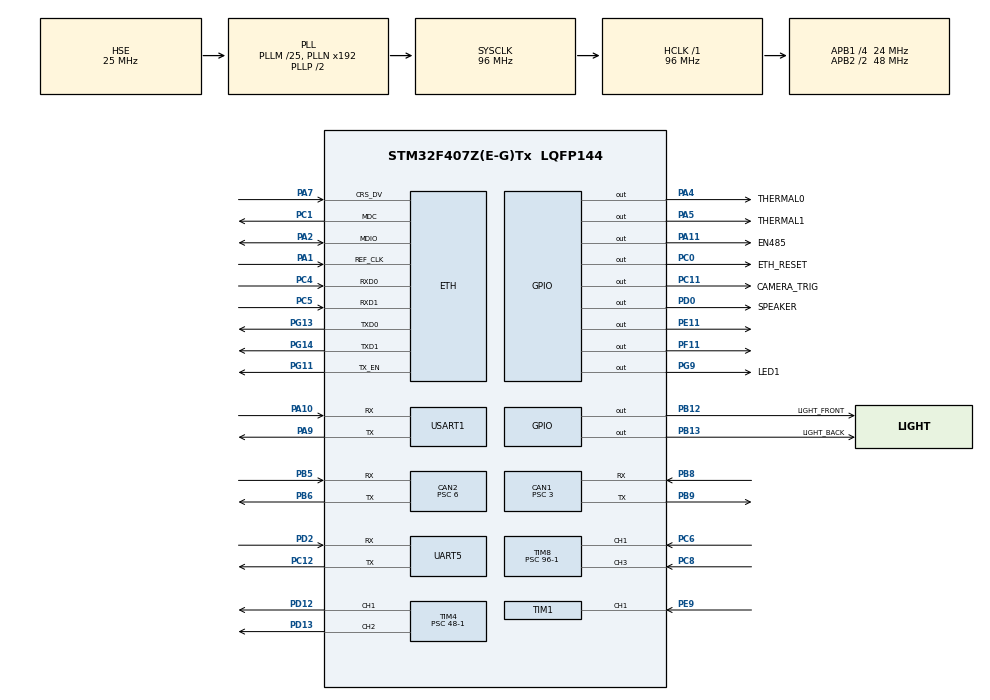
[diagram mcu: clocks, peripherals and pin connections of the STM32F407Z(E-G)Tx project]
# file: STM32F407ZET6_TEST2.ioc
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CAN1.BS1=CAN_BS1_3TQ
CAN1.BS2=CAN_BS2_4TQ
CAN1.CalculateBaudRate=1000000
CAN1.CalculateTimeBit=1000
CAN1.CalculateTimeQuantum=125.0
CAN1.Prescaler=3
CAN2.BS1=CAN_BS1_3TQ
CAN2.BS2=CAN_BS2_4TQ
CAN2.CalculateBaudRate=500000
CAN2.CalculateTimeBit=2000
CAN2.CalculateTimeQuantum=250.0
CAN2.Prescaler=6
Dma.Request0=TIM8_CH4/TRIG/COM
Dma.Request1=TIM1_CH2
Dma.Request2=TIM8_CH2
Dma.TIM1_CH2.1.Direction=DMA_PERIPH_TO_MEMORY
Dma.TIM1_CH2.1.FIFOMode=DMA_FIFOMODE_DISABLE
Dma.TIM1_CH2.1.Instance=DMA2_Stream2
Dma.TIM1_CH2.1.MemDataAlignment=DMA_MDATAALIGN_HALFWORD
Dma.TIM1_CH2.1.MemInc=DMA_MINC_ENABLE
Dma.TIM1_CH2.1.Mode=DMA_CIRCULAR
Dma.TIM1_CH2.1.PeriphDataAlignment=DMA_PDATAALIGN_HALFWORD
Dma.TIM1_CH2.1.PeriphInc=DMA_PINC_DISABLE
Dma.TIM1_CH2.1.Priority=DMA_PRIORITY_LOW
Dma.TIM8_CH2.2.Direction=DMA_PERIPH_TO_MEMORY
Dma.TIM8_CH2.2.FIFOMode=DMA_FIFOMODE_DISABLE
Dma.TIM8_CH2.2.Instance=DMA2_Stream3
Dma.TIM8_CH2.2.MemDataAlignment=DMA_MDATAALIGN_HALFWORD
Dma.TIM8_CH2.2.MemInc=DMA_MINC_ENABLE
Dma.TIM8_CH2.2.Mode=DMA_CIRCULAR
Dma.TIM8_CH2.2.PeriphDataAlignment=DMA_PDATAALIGN_HALFWORD
Dma.TIM8_CH2.2.PeriphInc=DMA_PINC_DISABLE
Dma.TIM8_CH2.2.Priority=DMA_PRIORITY_LOW
Dma.TIM8_CH4/TRIG/COM.0.Direction=DMA_PERIPH_TO_MEMORY
Dma.TIM8_CH4/TRIG/COM.0.FIFOMode=DMA_FIFOMODE_DISABLE
Dma.TIM8_CH4/TRIG/COM.0.Instance=DMA2_Stream7
Dma.TIM8_CH4/TRIG/COM.0.MemDataAlignment=DMA_MDATAALIGN_HALFWORD
Dma.TIM8_CH4/TRIG/COM.0.MemInc=DMA_MINC_ENABLE
Dma.TIM8_CH4/TRIG/COM.0.Mode=DMA_CIRCULAR
Dma.TIM8_CH4/TRIG/COM.0.PeriphDataAlignment=DMA_PDATAALIGN_HALFWORD
Dma.TIM8_CH4/TRIG/COM.0.PeriphInc=DMA_PINC_DISABLE
Dma.TIM8_CH4/TRIG/COM.0.Priority=DMA_PRIORITY_LOW
ETH.MediaInterface=ETH_MEDIA_INTERFACE_RMII
ETH.PHY_DUPLEX_STATUS=0x0010
ETH.PHY_Name_RMII=userPHY
ETH.PHY_SPEED_STATUS=0x0004
ETH.PHY_SR=0x1F
ETH.PHY_User_Name=LAN8720
ETH.PhyAddress=0
LWIP.GATEWAY_ADDRESS=192.168.002.001
LWIP.IP_ADDRESS=192.168.002.122
LWIP.LWIP_DHCP=0
LWIP.LWIP_NETIF_STATUS_CALLBACK=1
LWIP.NETMASK_ADDRESS=255.255.255.000
LWIP.TCP_QUEUE_OOSEQ=0
LWIP.Version=v2.1.2_Cube
Mcu.Family=STM32F4
Mcu.Name=STM32F407Z(E-G)Tx
Mcu.Package=LQFP144
NVIC.CAN1_RX0_IRQn=true\:0\:0\:false\:false\:true\:true\:true\:true
NVIC.CAN2_RX0_IRQn=true\:2\:0\:true\:false\:true\:true\:true\:true
NVIC.DMA2_Stream2_IRQn=true\:0\:0\:false\:false\:true\:false\:true\:true
NVIC.DMA2_Stream3_IRQn=true\:0\:0\:false\:false\:true\:false\:true\:true
NVIC.DMA2_Stream7_IRQn=true\:0\:0\:false\:false\:true\:false\:true\:true
NVIC.ETH_IRQn=true\:4\:0\:true\:false\:true\:true\:true\:true
NVIC.PriorityGroup=NVIC_PRIORITYGROUP_4
NVIC.TIM3_IRQn=true\:0\:0\:false\:false\:true\:true\:true\:true
NVIC.USART1_IRQn=true\:2\:0\:true\:false\:true\:true\:true\:true
PA1.Mode=RMII
PA1.Signal=ETH_REF_CLK
PA10.Mode=Asynchronous
PA10.Signal=USART1_RX
PA11.GPIO_Label=EN485
PA11.Signal=GPIO_Output
PA13.Mode=Serial_Wire
PA13.Signal=SYS_JTMS-SWDIO
PA14.Mode=Serial_Wire
PA14.Signal=SYS_JTCK-SWCLK
PA2.Mode=RMII
PA2.Signal=ETH_MDIO
PA4.GPIO_Label=THERMAL0
PA4.Signal=GPIO_Output
PA5.GPIO_Label=THERMAL1
PA5.Signal=GPIO_Output
PA7.Mode=RMII
PA7.Signal=ETH_CRS_DV
PA9.Mode=Asynchronous
PA9.Signal=USART1_TX
PB12.GPIO_Label=LIGHT_FRONT
PB12.Signal=GPIO_Output
PB13.GPIO_Label=LIGHT_BACK
PB13.Signal=GPIO_Output
PB5.Mode=CAN_Activate
PB5.Signal=CAN2_RX
PB6.Mode=CAN_Activate
PB6.Signal=CAN2_TX
PB8.Mode=CAN_Activate
PB8.Signal=CAN1_RX
PB9.Mode=CAN_Activate
PB9.Signal=CAN1_TX
PC0.GPIO_Label=ETH_RESET
PC0.Signal=GPIO_Output
PC1.Mode=RMII
PC1.Signal=ETH_MDC
PC11.GPIO_Label=CAMERA_TRIG
PC11.Signal=GPIO_Output
PC12.Mode=Asynchronous
PC12.Signal=UART5_TX
PC4.Mode=RMII
PC4.Signal=ETH_RXD0
PC5.Mode=RMII
PC5.Signal=ETH_RXD1
PC6.Signal=S_TIM8_CH1
PC8.Signal=S_TIM8_CH3
PD0.GPIO_Label=SPEAKER
PD0.Signal=GPIO_Output
PD12.Signal=S_TIM4_CH1
PD13.Signal=S_TIM4_CH2
PD2.Mode=Asynchronous
PD2.Signal=UART5_RX
PE11.Signal=GPIO_Output
PE9.Signal=S_TIM1_CH1
PF0.Signal=I2C2_SDA
PF1.Signal=I2C2_SCL
PF11.Signal=GPIO_Output
PG11.Mode=RMII
PG11.Signal=ETH_TX_EN
PG13.Mode=RMII
PG13.Signal=ETH_TXD0
PG14.Mode=RMII
PG14.Signal=ETH_TXD1
PG9.GPIO_Label=LED1
PG9.Signal=GPIO_Output
PH0-OSC_IN.Mode=HSE-External-Oscillator
PH0-OSC_IN.Signal=RCC_OSC_IN
PH1-OSC_OUT.Mode=HSE-External-Oscillator
PH1-OSC_OUT.Signal=RCC_OSC_OUT
ProjectManager.HeapSize=0x2000
ProjectManager.StackSize=0x4000
ProjectManager.TargetToolchain=MDK-ARM V5.32
RCC.48MHZClocksFreq_Value=48000000
RCC.AHBFreq_Value=96000000
RCC.APB1CLKDivider=RCC_HCLK_DIV4
RCC.APB1Freq_Value=24000000
RCC.APB1TimFreq_Value=48000000
RCC.APB2CLKDivider=RCC_HCLK_DIV2
RCC.APB2Freq_Value=48000000
RCC.APB2TimFreq_Value=96000000
RCC.CortexFreq_Value=96000000
RCC.HCLKFreq_Value=96000000
RCC.HSE_VALUE=25000000
RCC.HSI_VALUE=16000000
RCC.LSE_VALUE=32768
RCC.PLLM=25
RCC.PLLSourceVirtual=RCC_PLLSOURCE_HSE
RCC.SYSCLKFreq_VALUE=96000000
RCC.SYSCLKSource=RCC_SYSCLKSOURCE_PLLCLK
RCC.VCOOutputFreq_Value=192000000
SH.S_TIM1_CH1.0=TIM1_CH1,Input_Capture1_from_TI1
SH.S_TIM1_CH1.1=TIM1_CH1,TriggerSource_TI1FP1
SH.S_TIM4_CH1.0=TIM4_CH1,PWM Generation1 CH1
SH.S_TIM4_CH2.0=TIM4_CH2,PWM Generation2 CH2
SH.S_TIM8_CH1.0=TIM8_CH1,Input_Capture1_from_TI1
SH.S_TIM8_CH1.1=TIM8_CH1,TriggerSource_TI1FP1
SH.S_TIM8_CH3.0=TIM8_CH3,Input_Capture3_from_TI3
TIM1.AutoReloadPreload=TIM_AUTORELOAD_PRELOAD_ENABLE
TIM1.Channel-Input_Capture1_from_TI1=TIM_CHANNEL_1
TIM1.Channel-Input_Capture2_from_TI1_63=TIM_CHANNEL_2
TIM1.ICFilter_CH1=10
TIM1.ICPolarity_CH1=TIM_INPUTCHANNELPOLARITY_RISING
TIM1.ICPolarity_CH2=TIM_INPUTCHANNELPOLARITY_FALLING
TIM1.Period=20000-1
TIM1.Prescaler=96-1
TIM3.Period=1000-1
TIM3.Prescaler=480-1
TIM4.Channel-PWM\ Generation1\ CH1=TIM_CHANNEL_1
TIM4.Channel-PWM\ Generation2\ CH2=TIM_CHANNEL_2
TIM4.OCMode_PWM-PWM\ Generation1\ CH1=TIM_OCMODE_PWM2
TIM4.OCMode_PWM-PWM\ Generation2\ CH2=TIM_OCMODE_PWM2
TIM4.Period=20000-1
TIM4.Prescaler=48-1
TIM4.Pulse-PWM\ Generation1\ CH1=1500
TIM4.Pulse-PWM\ Generation2\ CH2=1500
TIM7.Period=1
TIM7.Prescaler=48-1
TIM8.AutoReloadPreload=TIM_AUTORELOAD_PRELOAD_ENABLE
TIM8.Channel-Input_Capture1_from_TI1=TIM_CHANNEL_1
TIM8.Channel-Input_Capture2_from_TI1_63=TIM_CHANNEL_2
TIM8.Channel-Input_Capture3_from_TI3=TIM_CHANNEL_3
TIM8.Channel-Input_Capture4_from_TI3_63=TIM_CHANNEL_4
TIM8.ICFilter_CH3=10
TIM8.ICPolarity_CH2=TIM_INPUTCHANNELPOLARITY_FALLING
TIM8.ICPolarity_CH3=TIM_INPUTCHANNELPOLARITY_RISING
TIM8.ICPolarity_CH4=TIM_INPUTCHANNELPOLARITY_FALLING
TIM8.Period=20000-1
TIM8.Prescaler=96-1
UART5.VirtualMode=Asynchronous
USART1.VirtualMode=VM_ASYNC
VP_LWIP_VS_Enabled.Mode=Enabled
VP_TIM1_VS_ClockSourceINT.Mode=Internal
VP_TIM1_VS_ControllerModeReset.Mode=Reset Mode
VP_TIM1_VS_indirect_ch1.Mode=Input_Capture2_from_TI1_63
VP_TIM3_VS_ClockSourceINT.Mode=Internal
VP_TIM4_VS_ClockSourceINT.Mode=Internal
VP_TIM7_VS_ClockSourceINT.Mode=Enable_Timer
VP_TIM8_VS_ClockSourceINT.Mode=Internal
VP_TIM8_VS_ControllerModeReset.Mode=Reset Mode
VP_TIM8_VS_indirect_ch1.Mode=Input_Capture2_from_TI1_63
VP_TIM8_VS_indirect_ch3.Mode=Input_Capture4_from_TI3_63
board=custom

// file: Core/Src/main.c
/* ZBX for Wheel Spherical */
/**
 ******************************************************************************
 * @file           : main.c
 * @brief          : Main program body
 ******************************************************************************
 * @attention
 *
 * Copyright (c) 2022 STMicroelectronics.
 * All rights reserved.
 *
 * This software is licensed under terms that can be found in the LICENSE file
 * in the root directory of this software component.
 * If no LICENSE file comes with this software, it is provided AS-IS.
 *
 ******************************************************************************
 */
/* USER CODE END Header */
#include "main.h"
#include "can.h"
#include "dma.h"
#include "lwip.h"
#include "tim.h"
#include "usart.h"
#include "gpio.h"

/* USER CODE BEGIN Includes */
#include "Rotunbot_vary.h"
#include "Rotunbot_Comm.h"
#include "Rotunbot_Pwm.h"
#include "Rotunbot_Can.h"
#include "Rotunbot_Algorithm.h"
#include "rs485.h"
#include "math.h"
/* USER CODE END Includes */

/* USER CODE BEGIN PM */
#define SEV_BUFF_SIZE 10
#define _ABS(x) ((x > 0) ? (x) : (-x))
/* USER CODE END PM */

/* USER CODE BEGIN PV */
unsigned int timer = 0;
short current_msg[4];
short sec_buff[SEV_BUFF_SIZE];
int buff_counter = 0;
int pos = 0;
int pre_GyroI_Align_x = 0, mo_wheel_out_last = 0, mo_wheel_out = 0; // 角加速度低通滤波相关
unsigned char Signal_3_State_last = 0;
unsigned char netgunCommand = 0;
unsigned char shootFlag = 0;
float v_inc = 0;
float ff_coef = 0.00; // 转弯前馈项系数
float abs_velocity_ball = 0.0;
int shootCounter = 0; // 网枪击发计时
short Pendulum_Ver_Angle = 0;
char Flag_Battery_Timer = 0;
int velocity_sum = 0;
const short MAX_ANGULER = 3000;
/* USER CODE END PV */

void SystemClock_Config(void);

int main(void)
{

    /* MCU Configuration--------------------------------------------------------*/

    /* Reset of all peripherals, Initializes the Flash interface and the Systick. */
    HAL_Init();

    /* Configure the system clock */
    SystemClock_Config();

    /* Initialize all configured peripherals */
    MX_GPIO_Init();
    MX_DMA_Init();
    MX_CAN1_Init();
    MX_CAN2_Init();
    MX_TIM1_Init();
    MX_TIM3_Init();
    MX_TIM4_Init();
    MX_TIM8_Init();
    MX_UART5_Init();
    MX_USART1_UART_Init();

    MX_LWIP_Init();
    MX_TIM7_Init();
    /* USER CODE BEGIN 2 */
    pwmInit();
    udpClientInit();
    paramInit();
    CAN_Config();
    //	LIGHT_FRONT_ON;
    //	LIGHT_BACK_ON;
    SPEAKER_ON;
    /* USER CODE END 2 */

    /* Infinite loop */
    /* USER CODE BEGIN WHILE */

    while (1)
    {
        /* UDP通信程序 */
        MX_LWIP_Process();
        if (!Flag_PID_Control_Timer)
            continue;
        Flag_PID_Control_Timer = 0;
        // —————————————————————————————获得期望vx,roll————————————————————————————//
        // 从遥控器获得控制量
        // Roll_Hope：期望翻滚角，范围-1700~1700，对应-17°~17°
        // Velocity_Hope：期望速度，范围-700~700，对应-7m/s~7m/s。
        if (Remote_Control_Counter > 100)
            RemoteRx();

        // —————————————————————————————获得主轴、副轴输入———————————————————————————//
        //	物理含义					变量名													量纲			方向
        //  重摆俯仰角速度 IMU_CAN_Message.GyroI_Align_y    0.01°/s	左
        //  重摆俯仰角度	 IMU_CAN_Message.Euler_y					0.01°		左
        //  重摆翻滚角速度 Velocity_SecondAxis+							0.01°/s	前
        //								IMU_CAN_Message.GyroI_Align_x;
        //  重摆翻滚角度	 Pendulum_Ver_Angle								0.01°		前
        //  球翻滚角速度	 IMU_CAN_Message.GyroI_Align_x	  0.01°/s  前
        //  球翻滚角度		 IMU_CAN_Message.Euler_x					0.01°		前
        //  球的前进速度	 Velocity_FirstAxis+
        //								IMU_CAN_Message.GyroI_Align_y   0.01°/s  左
        //  欧拉角				 IMU_CAN_Message.Euler_						0.01°		前左上
        //  欧拉角速度		 IMU_CAN_Message.GyroI_Align_			0.01°/s	前左上
        //  主轴电机转速	 Velocity_FirstAxis								0.01°/s  左
        //  副轴电机转速	 Velocity_SecondAxis							0.01°/s 	前
        //  副轴电机角度	 Position_SecondAxis							0.01°		前

        for (int i = 1; i < 5; i++)
        {
            if (abs_velocity_ball < PIDBox_ThirdAxis[3][i])
            { // 计算PID参数
                v_inc = (abs_velocity_ball - PIDBox_ThirdAxis[3][i - 1]) / (PIDBox_ThirdAxis[3][i] - PIDBox_ThirdAxis[3][i - 1]);
                PID_ThirdAxis.Kp = v_inc * (PIDBox_ThirdAxis[0][i] - PIDBox_ThirdAxis[0][i - 1]) + PIDBox_ThirdAxis[0][i - 1];
                PID_ThirdAxis.Ki = v_inc * (PIDBox_ThirdAxis[1][i] - PIDBox_ThirdAxis[1][i - 1]) + PIDBox_ThirdAxis[1][i - 1];
                PID_ThirdAxis.Kd = v_inc * (PIDBox_ThirdAxis[2][i] - PIDBox_ThirdAxis[2][i - 1]) + PIDBox_ThirdAxis[2][i - 1];
                break;
            }
        }
        //		//计算转弯时的向心力补偿//暂未补足----------------------------------------------------------------------------------------------------------------------------------------
        //		ff_coef = (_ABS(Velocity_Hope)<200)?(0.002*_ABS(Velocity_Hope)):(0.8-0.0027*_ABS(Velocity_Hope));
        //		ff_coef = (ff_coef<0)?0:ff_coef;
        ff_coef = asin(Velocity_Hope / 100 * Velocity_Hope / 100 * tan(Roll_Hope / 18000.0 * PI) * m_ball / m_pendulum / 9.8 / l_pendulum) * 18000.0 / PI + Roll_Hope;
        if (ff_coef > 2800)
            ff_coef = 2800; // 饱和区
        else if (ff_coef < -2800)
            ff_coef = -2800; // 饱和区
        // 计算副轴的位置
        pos = (PID_Loc(Roll_Hope, IMU_CAN_Message.Euler_x, -IMU_CAN_Message.GyroI_Align_x, &PID_SecondAxis)+motor_orig_angle + ff_coef) * 22.6f; //位置模式
        //sec = PID_Loc(Roll_Hope, IMU_CAN_Message.Euler_x, -IMU_CAN_Message.GyroI_Align_x, &PID_SecondAxis) + ff_coef * Roll_Hope;//力矩模式
        // 计算动量轮的力距/加速度带低通滤波器
        float alpha = (2.0f * PI * 3.0f * 0.02f) / (2.0f * PI * 3.0f * 0.02f + 1.0f);
        mo_wheel_out = mo_wheel_out_last + alpha * (IMU_CAN_Message.GyroI_Align_x + pre_GyroI_Align_x - mo_wheel_out_last);
        third = PID_Loc(0, IMU_CAN_Message.GyroI_Align_x, mo_wheel_out_last - mo_wheel_out, &PID_ThirdAxis);
        pre_GyroI_Align_x = IMU_CAN_Message.GyroI_Align_x;
        mo_wheel_out_last = mo_wheel_out;
        // 计算推进器
        v_force = V_Hope / 2;
        w_force = PID_Loc(W_Hope, IMU_CAN_Message.GyroI_Align_z, (PID_W.Ek - PID_W.Ek1), &PID_W);

        // 计算主轴期望速度，防止翻滚
				short Gyro_y_Hope = IMU_CAN_Message.GyroI_Align_y;
				if(IMU_CAN_Message.Euler_y>0)
				{
					if(IMU_CAN_Message.GyroI_Align_y>(-MAX_ANGULER*IMU_CAN_Message.Euler_y/9000+MAX_ANGULER)) //刹车过急
					{
						Gyro_y_Hope = -MAX_ANGULER*IMU_CAN_Message.Euler_y/9000+MAX_ANGULER;
						Velocity_Hope = (Velocity_FirstAxis+IMU_CAN_Message.GyroI_Align_y - Gyro_y_Hope)*0.007;
					}
					else if(IMU_CAN_Message.GyroI_Align_y<-MAX_ANGULER)
					{
						Gyro_y_Hope = -MAX_ANGULER;
						Velocity_Hope = (Velocity_FirstAxis+IMU_CAN_Message.GyroI_Align_y - Gyro_y_Hope)*0.007;
					}
				}
				else
				{
					if(IMU_CAN_Message.GyroI_Align_y<(-MAX_ANGULER*IMU_CAN_Message.Euler_y/9000-MAX_ANGULER))
					{
						Gyro_y_Hope = -MAX_ANGULER*IMU_CAN_Message.Euler_y/9000-MAX_ANGULER;
						Velocity_Hope = (Velocity_FirstAxis+IMU_CAN_Message.GyroI_Align_y - Gyro_y_Hope)*0.007;
					}
					else if(IMU_CAN_Message.GyroI_Align_y>MAX_ANGULER)
					{
						Gyro_y_Hope = MAX_ANGULER;
						Velocity_Hope = (Velocity_FirstAxis+IMU_CAN_Message.GyroI_Align_y - Gyro_y_Hope)*0.007;
					}
				}

        // —————————————————————————————下发控制器输出———————————————————————————//
        //  电机
        int v_command = 0;
        v_command = Velocity_Hope * 15455.57 ;// 7 * 5;        				// 把速度值放大到驱动器的量纲
				if((driver_state_word&0x38) == 0x38)
					firstAxisVelMode(v_command >> 24, v_command >> 16, v_command >> 8, v_command); // 主轴速度模式
        if((driver_state_word&0x07) == 0x07)
					secondAxisPosMode(pos >> 24, pos >> 16, pos >> 8, pos); // 副轴位置模式
        if((driver_state_word&0x1C0) == 0x1C0)
					thirdAxisCurrentMode(third >> 8, third);

        // 推进器
        /**抗遥控器饱和**/
        right = ((v_force + w_force) > 500) ? 500 : (v_force + w_force);
        right = (left < (-500)) ? (-500) : right;
        left = right - 2 * w_force;
        if (left > 500)
        {
            left = 500;
            right = left + 2 * w_force;
        }
        else if (left < -500)
        {
            left = -500;
            right = left + 2 * w_force;
        }
        /***************/
        // 下发推进器转速
        __HAL_TIM_SetCompare(&htim4, TIM_CHANNEL_1, 20000 - 1500 - right);
        __HAL_TIM_SetCompare(&htim4, TIM_CHANNEL_2, 20000 - 1500 - left);

        // —————————————————————————————其它操作———————————————————————————//
        Remote_Control_Counter++;
        driver_PDO_timer++;
        if (Flag_LED_Toggle_Timer) // LED闪烁
        {
            Flag_LED_Toggle_Timer = 0;
            HAL_GPIO_TogglePin(LED1_GPIO_Port, LED1_Pin);
            RS485_handle();

						if(driver_power != 0)
						{
							DriverEnable(); // 驱动器使能
							if(driver_PDO_timer > 100)
								driver_state_word &= 0x124;
						}
						else if(driver_PDO_timer > 100)
						{
							driver_state_word = 0;
						}
        }
        velocity_sum += (Velocity_FirstAxis + IMU_CAN_Message.GyroI_Align_y);
        short msg[8];
        msg[0] = IMU_CAN_Message.GyroI_Align_x;
        msg[1] = IMU_CAN_Message.Euler_x;
        msg[2] = Velocity_FirstAxis + IMU_CAN_Message.GyroI_Align_y;
        msg[3] = Velocity_Hope;
        msg[4] = Roll_Hope;
        msg[5] = driver_power;
        msg[6] = driver_PDO_timer;
        msg[7] = driver_state_word;
        send_ANO_msg(msg);

        if (Flag_Feedback_Timer)
        {
            Flag_Feedback_Timer = 0;
            imuFeedback();
            if ((driver_state_word & 0x24) == 0x00)
            {
                first = 0;
                sec = 0;
                third = 0;
                Velocity_FirstAxis = 0;
                Velocity_SecondAxis = 0;
                Velocity_ThirdAxis = 0;
                left = 0;
                right = 0;
            }
            motorFeedback();
            HAL_UART_Receive_IT(&huart1, USART1_RxBuft, 9);
        }
        else
        {
            HAL_GPIO_TogglePin(CAMERA_TRIG_GPIO_Port, CAMERA_TRIG_Pin);
        }
        // ——————————————————————————————电池发送指令——————————————————————————————//
        if (Flag_Battery_Timer == 1) // 电池
        {
            Flag_Battery_Timer = 0;
            BatteryFeedback(); // 反馈函数
					  internalStateFeedback();
        }
        /* USER CODE END WHILE */

    }
}

void SystemClock_Config(void)
{
    RCC_OscInitTypeDef RCC_OscInitStruct = {0};
    RCC_ClkInitTypeDef RCC_ClkInitStruct = {0};

    /** Configure the main internal regulator output voltage
     */
    __HAL_RCC_PWR_CLK_ENABLE();
    __HAL_PWR_VOLTAGESCALING_CONFIG(PWR_REGULATOR_VOLTAGE_SCALE1);
    /** Initializes the RCC Oscillators according to the specified parameters
     * in the RCC_OscInitTypeDef structure.
     */
    RCC_OscInitStruct.OscillatorType = RCC_OSCILLATORTYPE_HSE;
    RCC_OscInitStruct.HSEState = RCC_HSE_ON;
    RCC_OscInitStruct.PLL.PLLState = RCC_PLL_ON;
    RCC_OscInitStruct.PLL.PLLSource = RCC_PLLSOURCE_HSE;
    RCC_OscInitStruct.PLL.PLLM = 25;
    RCC_OscInitStruct.PLL.PLLN = 192;
    RCC_OscInitStruct.PLL.PLLP = RCC_PLLP_DIV2;
    RCC_OscInitStruct.PLL.PLLQ = 4;
    if (HAL_RCC_OscConfig(&RCC_OscInitStruct) != HAL_OK)
    {
        Error_Handler();
    }
    /** Initializes the CPU, AHB and APB buses clocks
     */
    RCC_ClkInitStruct.ClockType = RCC_CLOCKTYPE_HCLK | RCC_CLOCKTYPE_SYSCLK | RCC_CLOCKTYPE_PCLK1 | RCC_CLOCKTYPE_PCLK2;
    RCC_ClkInitStruct.SYSCLKSource = RCC_SYSCLKSOURCE_PLLCLK;
    RCC_ClkInitStruct.AHBCLKDivider = RCC_SYSCLK_DIV1;
    RCC_ClkInitStruct.APB1CLKDivider = RCC_HCLK_DIV4;
    RCC_ClkInitStruct.APB2CLKDivider = RCC_HCLK_DIV2;

    if (HAL_RCC_ClockConfig(&RCC_ClkInitStruct, FLASH_LATENCY_3) != HAL_OK)
    {
        Error_Handler();
    }
}

/* USER CODE BEGIN 4 */
/*	brief: 定时器3溢出中断函数，周期10ms，内部进行分频，得到周期20ms、200ms等标志位
 *
 */
void HAL_TIM_PeriodElapsedCallback(TIM_HandleTypeDef *htim)
{
    if (htim == (&htim3))
    {
        timer++;                    // 每10ms一次计数
        Flag_PID_Control_Timer = 1; // 每10ms进行一次pid控制 100Hz
        if (timer % 2 == 0)
            Flag_Feedback_Timer = 1; // 每20ms向上位机反馈一次数据 50Hz
        if (timer % 1000 == 0)
            Flag_Battery_Timer = 1; // 每10000ms得到电池的数据
        if (timer % 100 == 0)
        {
            Flag_LED_Toggle_Timer = 1; // LED每1000ms翻转一次 闪烁频率0.5Hz
            USART1_FLME = 1;
        }
    }
}
// void HAL_UART_RxCpltCallback(UART_HandleTypeDef *huart)
//{
//	if(huart == &huart1)
//	{
//		HAL_UART_Receive_IT(&huart1, USART1_RxBuf, 59);
//	}
// }
/* USER CODE END 4 */

void Error_Handler(void)
{
    __disable_irq();
    while (1)
    {
    }
}
